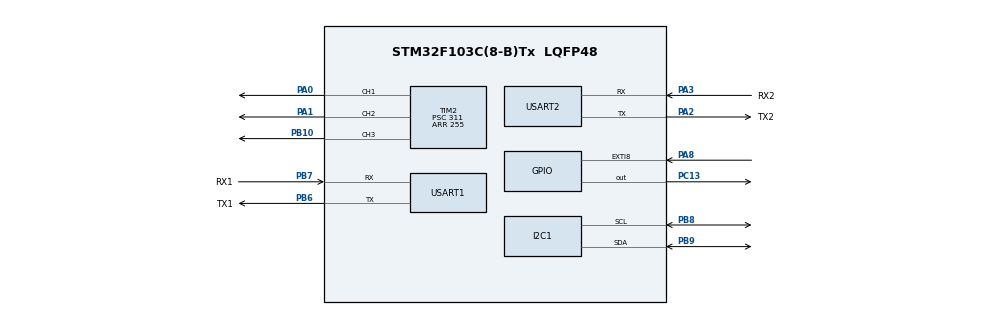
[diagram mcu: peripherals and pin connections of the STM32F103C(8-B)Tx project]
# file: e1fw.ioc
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I2C1.I2C_Mode=I2C_Standard
Mcu.Family=STM32F1
Mcu.Name=STM32F103C(8-B)Tx
Mcu.Package=LQFP48
NVIC.EXTI9_5_IRQn=true\:0\:0\:false\:false\:true\:true\:true\:true
NVIC.I2C1_ER_IRQn=true\:0\:0\:false\:false\:true\:true\:true\:true
NVIC.I2C1_EV_IRQn=true\:0\:0\:false\:false\:true\:true\:true\:true
NVIC.PriorityGroup=NVIC_PRIORITYGROUP_4
NVIC.USART1_IRQn=true\:0\:0\:false\:false\:true\:true\:true\:true
NVIC.USART2_IRQn=true\:0\:0\:false\:false\:true\:true\:true\:true
PA0-WKUP.Signal=S_TIM2_CH1_ETR
PA1.Signal=S_TIM2_CH2
PA13.Mode=Serial_Wire
PA13.Signal=SYS_JTMS-SWDIO
PA14.Mode=Serial_Wire
PA14.Signal=SYS_JTCK-SWCLK
PA2.GPIO_Label=TX2
PA2.Mode=Asynchronous
PA2.Signal=USART2_TX
PA3.GPIO_Label=RX2
PA3.Mode=Asynchronous
PA3.Signal=USART2_RX
PA8.GPIO_PuPd=GPIO_PULLDOWN
PA8.Signal=GPXTI8
PB10.Signal=S_TIM2_CH3
PB6.GPIO_Label=TX1
PB6.Mode=Asynchronous
PB6.Signal=USART1_TX
PB7.GPIO_Label=RX1
PB7.GPIO_PuPd=GPIO_PULLUP
PB7.Mode=Asynchronous
PB7.Signal=USART1_RX
PB8.Mode=I2C
PB8.Signal=I2C1_SCL
PB9.Mode=I2C
PB9.Signal=I2C1_SDA
PC13-TAMPER-RTC.Signal=GPIO_Output
PD0-OSC_IN.Mode=HSE-External-Oscillator
PD0-OSC_IN.Signal=RCC_OSC_IN
PD1-OSC_OUT.Mode=HSE-External-Oscillator
PD1-OSC_OUT.Signal=RCC_OSC_OUT
ProjectManager.HeapSize=0x200
ProjectManager.StackSize=0x400
ProjectManager.TargetToolchain=STM32CubeIDE
RCC.APB1Freq_Value=8000000
RCC.APB2Freq_Value=8000000
RCC.SYSCLKSource=RCC_SYSCLKSOURCE_HSE
SH.S_TIM2_CH1_ETR.0=TIM2_CH1,PWM Generation1 CH1
SH.S_TIM2_CH2.0=TIM2_CH2,PWM Generation2 CH2
SH.S_TIM2_CH3.0=TIM2_CH3,PWM Generation3 CH3
TIM2.Channel-PWM\ Generation1\ CH1=TIM_CHANNEL_1
TIM2.Channel-PWM\ Generation2\ CH2=TIM_CHANNEL_2
TIM2.Channel-PWM\ Generation3\ CH3=TIM_CHANNEL_3
TIM2.Period=255
TIM2.Prescaler=311
TIM2.Pulse-PWM\ Generation1\ CH1=100
TIM2.Pulse-PWM\ Generation2\ CH2=0
TIM2.Pulse-PWM\ Generation3\ CH3=0
USART1.VirtualMode=VM_ASYNC
USART2.VirtualMode=VM_ASYNC
board=custom

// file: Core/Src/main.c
/* USER CODE BEGIN Header */
//a
/**
  ******************************************************************************
  * @file           : main.c
  * @brief          : Main program body
  ******************************************************************************
  * @attention
  *
  * Copyright (c) 2025 STMicroelectronics.
  * All rights reserved.
  *
  * This software is licensed under terms that can be found in the LICENSE file
  * in the root directory of this software component.
  * If no LICENSE file comes with this software, it is provided AS-IS.
  *
  ******************************************************************************
  */
/* USER CODE END Header */
#include "main.h"

/* USER CODE BEGIN Includes */
#include "project.h"

/* USER CODE END Includes */

/* USER CODE BEGIN PD */
#define MAX_STR_LEN 100

/* USER CODE END PD */

I2C_HandleTypeDef hi2c1;

TIM_HandleTypeDef htim2;

UART_HandleTypeDef huart1;
UART_HandleTypeDef huart2;

/* USER CODE BEGIN PV */
COUNTDOWN led_flasher;

/* USER CODE END PV */

void SystemClock_Config(void);
static void MX_GPIO_Init(void);
static void MX_USART1_UART_Init(void);
static void MX_USART2_UART_Init(void);
static void MX_I2C1_Init(void);
static void MX_TIM2_Init(void);

/* USER CODE BEGIN 0 */
#ifdef __GNUC__
#define PUTCHAR_PROTOTYPE int __io_putchar(int ch)
#else
#define PUTCHAR_PROTOTYPE int fputc(int ch, FILE *f)
#endif

 PUTCHAR_PROTOTYPE
 {
   HAL_UART_Transmit(&huart1, (uint8_t *)&ch, 1, HAL_MAX_DELAY); // Replace &huart1 with your UART handle
   return ch;
 }

 void HAL_UART_RxCpltCallback(UART_HandleTypeDef *huart);

 // int sensor_read_period_ms = MINUTES_TO_MS(6);

/* USER CODE END 0 */

int main(void)
{

  /* USER CODE BEGIN 1 */
	int loopcount = 0;

  /* USER CODE END 1 */

  /* MCU Configuration--------------------------------------------------------*/

  /* Reset of all peripherals, Initializes the Flash interface and the Systick. */
  HAL_Init();

  /* Configure the system clock */
  SystemClock_Config();

  /* Initialize all configured peripherals */
  MX_GPIO_Init();
  MX_USART1_UART_Init();
  MX_USART2_UART_Init();
  MX_I2C1_Init();
  MX_TIM2_Init();
  /* USER CODE BEGIN 2 */

	printf("\r\n\nE1 Firmware version 0.1\n");

	InitEEPROM();
	SensorInit();
	InitRGBLED();

	SetCountDown(&led_flasher, 25);

	RadioInit();

	RadioPrintStatus();

  /* USER CODE END 2 */

  /* Infinite loop */
   while (1)
   {

    /* USER CODE BEGIN 3 */
	    loopcount++;

	    // are there any pending commands from the console?
	    // if so, read it and deal with it
	    DoConsoleProcess();

	    // are there any pending messages from the radio
	    // if so, read it and deal with it
	    DoRadioProcess();

	    DoSensorProcess();

		// Reset LED after interrupt
		//ResetRGBLED();
		//ModulateRGBLED();

	    //DoRGBLEDProcess();
	    ledSetColor(0,0,0);

		// the flashing LED indicates the code is running
		if (0 == GetCountDown(&led_flasher))
		{
			HAL_GPIO_TogglePin(GPIOC, GPIO_PIN_13);
			SetCountDown(&led_flasher, 25);
		}

		// spin quickly on the loop for minimum latency

    }

  /* USER CODE END 3 */
}

void SystemClock_Config(void)
{
  RCC_OscInitTypeDef RCC_OscInitStruct = {0};
  RCC_ClkInitTypeDef RCC_ClkInitStruct = {0};

  /** Initializes the RCC Oscillators according to the specified parameters
  * in the RCC_OscInitTypeDef structure.
  */
  RCC_OscInitStruct.OscillatorType = RCC_OSCILLATORTYPE_HSE;
  RCC_OscInitStruct.HSEState = RCC_HSE_ON;
  RCC_OscInitStruct.PLL.PLLState = RCC_PLL_NONE;
  if (HAL_RCC_OscConfig(&RCC_OscInitStruct) != HAL_OK)
  {
    Error_Handler();
  }

  /** Initializes the CPU, AHB and APB buses clocks
  */
  RCC_ClkInitStruct.ClockType = RCC_CLOCKTYPE_HCLK|RCC_CLOCKTYPE_SYSCLK
                              |RCC_CLOCKTYPE_PCLK1|RCC_CLOCKTYPE_PCLK2;
  RCC_ClkInitStruct.SYSCLKSource = RCC_SYSCLKSOURCE_HSE;
  RCC_ClkInitStruct.AHBCLKDivider = RCC_SYSCLK_DIV1;
  RCC_ClkInitStruct.APB1CLKDivider = RCC_HCLK_DIV1;
  RCC_ClkInitStruct.APB2CLKDivider = RCC_HCLK_DIV1;

  if (HAL_RCC_ClockConfig(&RCC_ClkInitStruct, FLASH_LATENCY_0) != HAL_OK)
  {
    Error_Handler();
  }
}

static void MX_I2C1_Init(void)
{

  hi2c1.Instance = I2C1;
  hi2c1.Init.ClockSpeed = 100000;
  hi2c1.Init.DutyCycle = I2C_DUTYCYCLE_2;
  hi2c1.Init.OwnAddress1 = 0;
  hi2c1.Init.AddressingMode = I2C_ADDRESSINGMODE_7BIT;
  hi2c1.Init.DualAddressMode = I2C_DUALADDRESS_DISABLE;
  hi2c1.Init.OwnAddress2 = 0;
  hi2c1.Init.GeneralCallMode = I2C_GENERALCALL_DISABLE;
  hi2c1.Init.NoStretchMode = I2C_NOSTRETCH_DISABLE;
  if (HAL_I2C_Init(&hi2c1) != HAL_OK)
  {
    Error_Handler();
  }

}

static void MX_TIM2_Init(void)
{

  TIM_MasterConfigTypeDef sMasterConfig = {0};
  TIM_OC_InitTypeDef sConfigOC = {0};

  htim2.Instance = TIM2;
  htim2.Init.Prescaler = 311;
  htim2.Init.CounterMode = TIM_COUNTERMODE_UP;
  htim2.Init.Period = 255;
  htim2.Init.ClockDivision = TIM_CLOCKDIVISION_DIV1;
  htim2.Init.AutoReloadPreload = TIM_AUTORELOAD_PRELOAD_DISABLE;
  if (HAL_TIM_PWM_Init(&htim2) != HAL_OK)
  {
    Error_Handler();
  }
  sMasterConfig.MasterOutputTrigger = TIM_TRGO_RESET;
  sMasterConfig.MasterSlaveMode = TIM_MASTERSLAVEMODE_DISABLE;
  if (HAL_TIMEx_MasterConfigSynchronization(&htim2, &sMasterConfig) != HAL_OK)
  {
    Error_Handler();
  }
  sConfigOC.OCMode = TIM_OCMODE_PWM1;
  sConfigOC.Pulse = 100;
  sConfigOC.OCPolarity = TIM_OCPOLARITY_HIGH;
  sConfigOC.OCFastMode = TIM_OCFAST_DISABLE;
  if (HAL_TIM_PWM_ConfigChannel(&htim2, &sConfigOC, TIM_CHANNEL_1) != HAL_OK)
  {
    Error_Handler();
  }
  sConfigOC.Pulse = 0;
  if (HAL_TIM_PWM_ConfigChannel(&htim2, &sConfigOC, TIM_CHANNEL_2) != HAL_OK)
  {
    Error_Handler();
  }
  if (HAL_TIM_PWM_ConfigChannel(&htim2, &sConfigOC, TIM_CHANNEL_3) != HAL_OK)
  {
    Error_Handler();
  }
  HAL_TIM_MspPostInit(&htim2);

}

static void MX_USART1_UART_Init(void)
{

  huart1.Instance = USART1;
  huart1.Init.BaudRate = 115200;
  huart1.Init.WordLength = UART_WORDLENGTH_8B;
  huart1.Init.StopBits = UART_STOPBITS_1;
  huart1.Init.Parity = UART_PARITY_NONE;
  huart1.Init.Mode = UART_MODE_TX_RX;
  huart1.Init.HwFlowCtl = UART_HWCONTROL_NONE;
  huart1.Init.OverSampling = UART_OVERSAMPLING_16;
  if (HAL_UART_Init(&huart1) != HAL_OK)
  {
    Error_Handler();
  }
  /* USER CODE BEGIN USART1_Init 2 */

	ConsoleInit();

  /* USER CODE END USART1_Init 2 */

}

static void MX_USART2_UART_Init(void)
{

  huart2.Instance = USART2;
  huart2.Init.BaudRate = 115200;
  huart2.Init.WordLength = UART_WORDLENGTH_8B;
  huart2.Init.StopBits = UART_STOPBITS_1;
  huart2.Init.Parity = UART_PARITY_NONE;
  huart2.Init.Mode = UART_MODE_TX_RX;
  huart2.Init.HwFlowCtl = UART_HWCONTROL_NONE;
  huart2.Init.OverSampling = UART_OVERSAMPLING_16;
  if (HAL_UART_Init(&huart2) != HAL_OK)
  {
    Error_Handler();
  }
  /* USER CODE BEGIN USART2_Init 2 */

  RadioInit();

  /* USER CODE END USART2_Init 2 */

}

static void MX_GPIO_Init(void)
{
  GPIO_InitTypeDef GPIO_InitStruct = {0};

  /* GPIO Ports Clock Enable */
  __HAL_RCC_GPIOC_CLK_ENABLE();
  __HAL_RCC_GPIOD_CLK_ENABLE();
  __HAL_RCC_GPIOA_CLK_ENABLE();
  __HAL_RCC_GPIOB_CLK_ENABLE();

  /*Configure GPIO pin Output Level */
  HAL_GPIO_WritePin(GPIOC, GPIO_PIN_13, GPIO_PIN_RESET);

  /*Configure GPIO pin : PC13 */
  GPIO_InitStruct.Pin = GPIO_PIN_13;
  GPIO_InitStruct.Mode = GPIO_MODE_OUTPUT_PP;
  GPIO_InitStruct.Pull = GPIO_NOPULL;
  GPIO_InitStruct.Speed = GPIO_SPEED_FREQ_LOW;
  HAL_GPIO_Init(GPIOC, &GPIO_InitStruct);

  /*Configure GPIO pin : PA8 */
  GPIO_InitStruct.Pin = GPIO_PIN_8;
  GPIO_InitStruct.Mode = GPIO_MODE_IT_RISING;
  GPIO_InitStruct.Pull = GPIO_PULLDOWN;
  HAL_GPIO_Init(GPIOA, &GPIO_InitStruct);

  /* EXTI interrupt init*/
  HAL_NVIC_SetPriority(EXTI9_5_IRQn, 0, 0);
  HAL_NVIC_EnableIRQ(EXTI9_5_IRQn);

  /* USER CODE BEGIN MX_GPIO_Init_2 */

  /* Configure I2C1 SDA and SCL pins: PB6 -> SCL, PB7 -> SDA */
  GPIO_InitStruct.Pin = GPIO_PIN_6 | GPIO_PIN_7;
  GPIO_InitStruct.Mode = GPIO_MODE_AF_OD;
  GPIO_InitStruct.Pull = GPIO_PULLUP;
  GPIO_InitStruct.Speed = GPIO_SPEED_FREQ_HIGH;
  HAL_GPIO_Init(GPIOB, &GPIO_InitStruct);

  /* USER CODE END MX_GPIO_Init_2 */
}

/* USER CODE BEGIN 4 */
void HAL_UART_RxCpltCallback(UART_HandleTypeDef *huart)
{
   // was it an rx interrupt from the console?
    if (huart->Instance == USART1)
    {
    	ConsoleRxCpltCallback();
    }

	// was it an rx interrupt from the radio?
    if (huart->Instance == USART2)
    {
    	RadioRxCpltCallback();
    }
 }

/* USER CODE END 4 */

void Error_Handler(void)
{
  __disable_irq();
  while (1)
  {
  }
}
